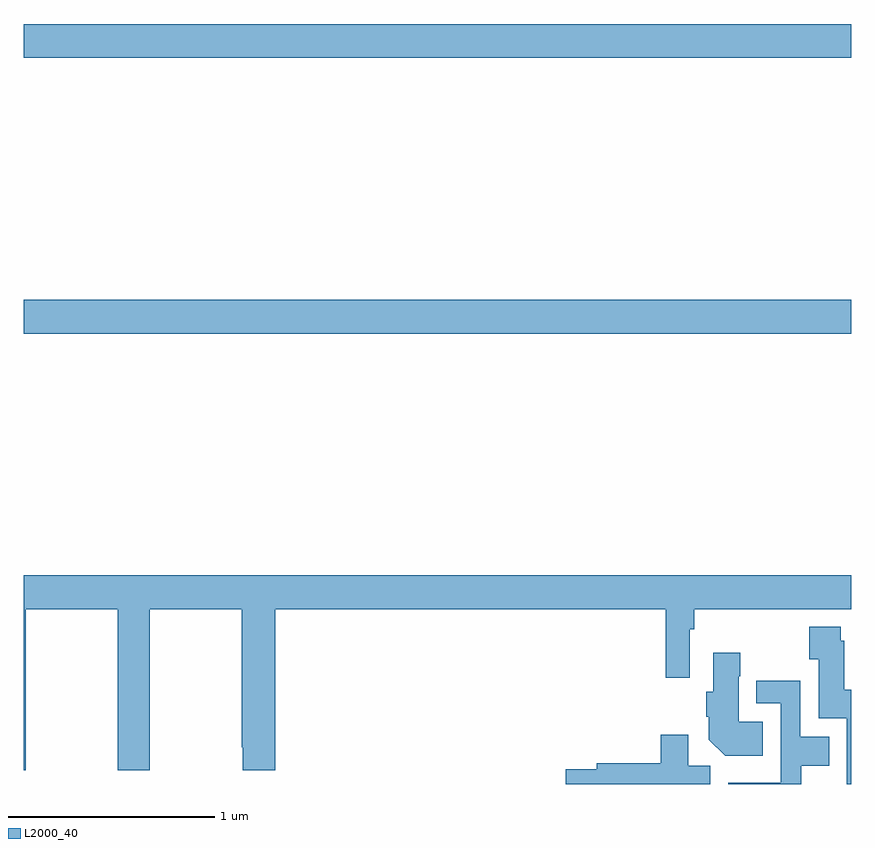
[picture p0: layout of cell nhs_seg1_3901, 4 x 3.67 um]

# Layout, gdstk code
import gdstk
lib = gdstk.Library(unit=1e-6, precision=1e-09)
def R(c, l, rs):  # rectangles x0, y0, x1, y1
    for r in rs: c.add(gdstk.rectangle(r[:2], r[2:], *l))
def P(c, l, *ps):  # polygons
    for p in ps: c.add(gdstk.Polygon(p, *l))
L2000_40 = (2000, 40)

nhs_seg1_3901 = lib.new_cell('nhs_seg1_3901')
R(nhs_seg1_3901, L2000_40, [(323,574.376,327,574.54), (323,575.708,327,575.872)])
P(nhs_seg1_3901, L2000_40, [(323.01,573.044),(323.455,573.044),(323.455,572.265),(323.61,572.265),(323.61,573.044),(324.055,573.044),(324.055,572.377),(324.059,572.377),(324.059,572.265),(324.215,572.265),(324.215,573.044),(326.104,573.044),(326.104,572.712),(326.22,572.712),(326.22,572.948),(326.24,572.948),(326.24,573.044),(327,573.044),(327,573.208),(323,573.208),(323,572.265),(323.01,572.265)],
  [(327,572.655),(326.965,572.655),(326.965,572.892),(326.949,572.892),(326.949,572.959),(326.797,572.959),(326.797,572.803),(326.843,572.803),(326.843,572.516),(326.978,572.516),(326.978,572.199),(327,572.199)],
  [(326.573,572.5),(326.455,572.5),(326.455,572.72),(326.463,572.72),(326.463,572.833),(326.333,572.833),(326.333,572.646),(326.3,572.646),(326.3,572.524),(326.312,572.524),(326.312,572.414),(326.39,572.336),(326.573,572.336)],
  [(326.757,572.288),(326.893,572.288),(326.893,572.428),(326.754,572.428),(326.754,572.698),(326.541,572.698),(326.541,572.589),(326.658,572.589),(326.658,572.206),(326.405,572.206),(326.405,572.199),(326.757,572.199)],
  [(326.317,572.288),(326.212,572.288),(326.212,572.437),(326.078,572.437),(326.078,572.3),(325.769,572.3),(325.769,572.27),(325.62,572.27),(325.62,572.199),(326.317,572.199)])

lib.write_gds('nhs_seg1_3901.gds')
